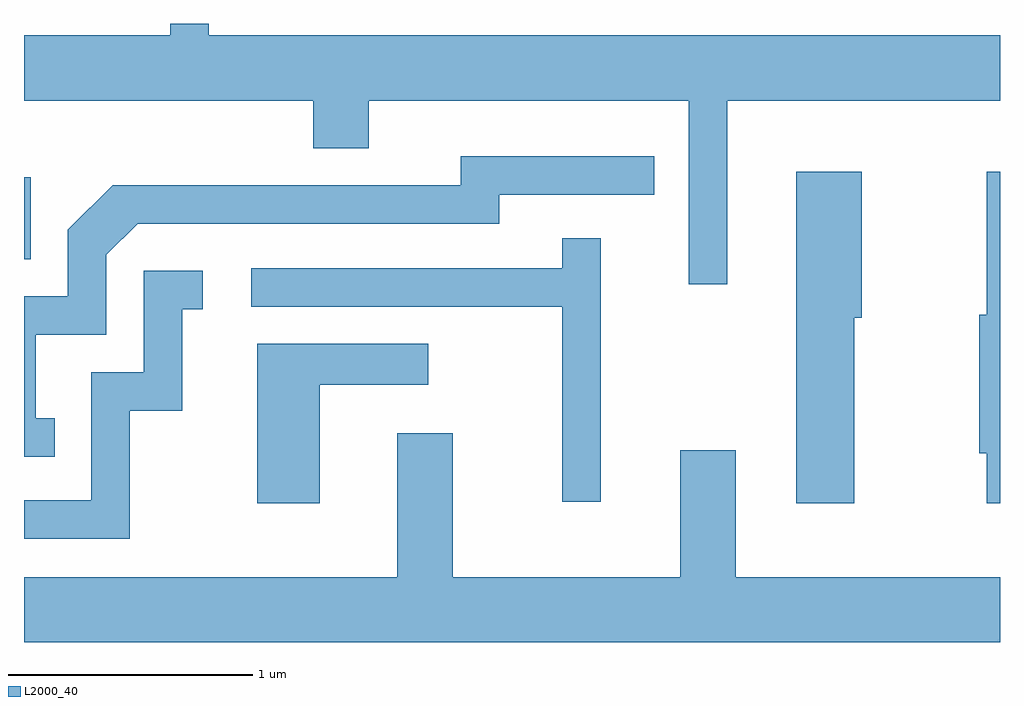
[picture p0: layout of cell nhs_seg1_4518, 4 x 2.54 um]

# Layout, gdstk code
import gdstk
lib = gdstk.Library(unit=1e-6, precision=1e-09)
def R(c, l, rs):  # rectangles x0, y0, x1, y1
    for r in rs: c.add(gdstk.rectangle(r[:2], r[2:], *l))
def P(c, l, *ps):  # polygons
    for p in ps: c.add(gdstk.Polygon(p, *l))
L2000_40 = (2000, 40)

nhs_seg1_4518 = lib.new_cell('nhs_seg1_4518')
R(nhs_seg1_4518, L2000_40, [(321.611,856.746,321.639,857.083)])
P(nhs_seg1_4518, L2000_40, [(324.494,857.396),(325.611,857.396),(325.611,857.664),(322.369,857.664),(322.369,857.712),(322.211,857.712),(322.211,857.664),(321.611,857.664),(321.611,857.396),(322.796,857.396),(322.796,857.201),(323.024,857.201),(323.024,857.396),(324.336,857.396),(324.336,856.643),(324.494,856.643)],
  [(321.738,856.094),(321.659,856.094),(321.659,856.436),(321.949,856.436),(321.949,856.764),(322.077,856.891),(323.559,856.891),(323.559,857.011),(324.193,857.011),(324.193,857.169),(323.401,857.169),(323.401,857.049),(321.974,857.049),(321.791,856.867),(321.791,856.594),(321.611,856.594),(321.611,855.936),(321.738,855.936)],
  [(325.014,856.506),(325.044,856.506),(325.044,857.104),(324.776,857.104),(324.776,855.746),(325.014,855.746)],
  [(325.611,857.104),(325.556,857.104),(325.556,856.519),(325.526,856.519),(325.526,855.951),(325.556,855.951),(325.556,855.746),(325.611,855.746)],
  [(323.974,856.833),(323.816,856.833),(323.816,856.709),(322.543,856.709),(322.543,856.551),(323.816,856.551),(323.816,855.753),(323.974,855.753)],
  [(322.044,856.126),(322.259,856.126),(322.259,856.541),(322.343,856.541),(322.343,856.699),(322.101,856.699),(322.101,856.284),(321.886,856.284),(321.886,855.759),(321.611,855.759),(321.611,855.601),(322.044,855.601)],
  [(322.824,856.231),(323.268,856.231),(323.268,856.399),(322.566,856.399),(322.566,855.746),(322.824,855.746)],
  [(325.611,855.444),(324.529,855.444),(324.529,855.964),(324.301,855.964),(324.301,855.444),(323.369,855.444),(323.369,856.034),(323.141,856.034),(323.141,855.444),(321.611,855.444),(321.611,855.176),(325.611,855.176)])

lib.write_gds('nhs_seg1_4518.gds')
